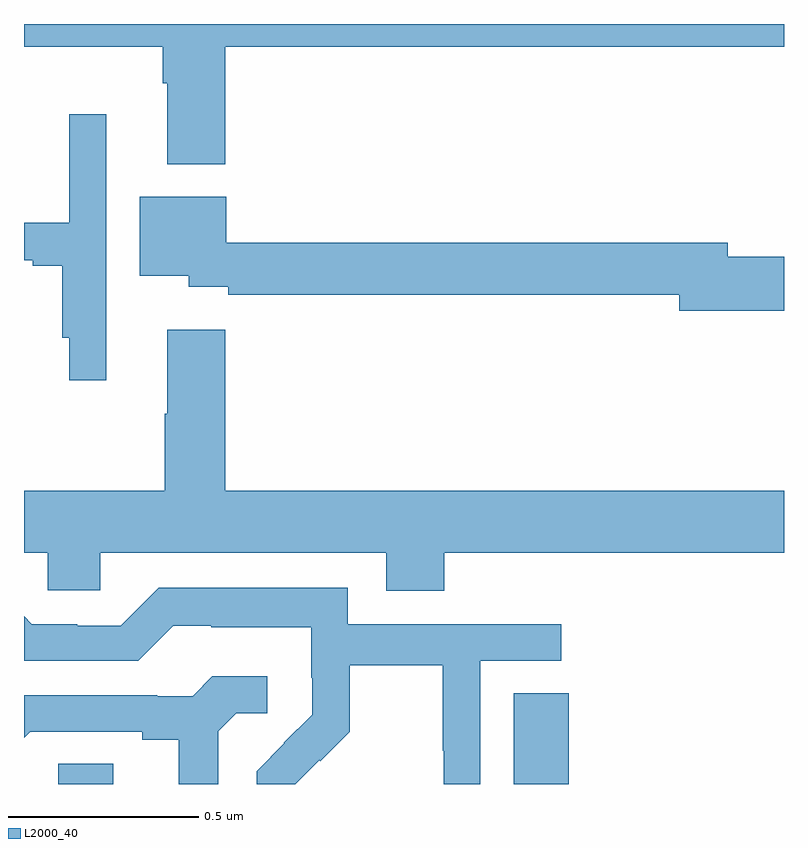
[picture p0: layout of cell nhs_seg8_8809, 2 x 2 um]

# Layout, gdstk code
import gdstk
lib = gdstk.Library(unit=1e-6, precision=1e-09)
def R(c, l, rs):  # rectangles x0, y0, x1, y1
    for r in rs: c.add(gdstk.rectangle(r[:2], r[2:], *l))
def P(c, l, *ps):  # polygons
    for p in ps: c.add(gdstk.Polygon(p, *l))
L2000_40 = (2000, 40)

nhs_seg8_8809 = lib.new_cell('nhs_seg8_8809')
R(nhs_seg8_8809, L2000_40, [(228.09,1107.9,228.235,1107.953), (229.289,1107.9,229.433,1108.139)])
P(nhs_seg8_8809, L2000_40, [(228.53,1109.84),(230,1109.84),(230,1109.9),(228,1109.9),(228,1109.84),(228.365,1109.84),(228.365,1109.744),(228.377,1109.744),(228.377,1109.531),(228.53,1109.531)],
  [(228.217,1109.183),(228.216,1109.183),(228.216,1109.662),(228.119,1109.662),(228.119,1109.377),(228,1109.377),(228,1109.278),(228.023,1109.278),(228.023,1109.264),(228.1,1109.264),(228.1,1109.074),(228.119,1109.074),(228.119,1108.962),(228.217,1108.962)],
  [(230,1109.288),(229.852,1109.288),(229.852,1109.324),(228.532,1109.324),(228.532,1109.446),(228.305,1109.446),(228.305,1109.237),(228.434,1109.237),(228.434,1109.208),(228.538,1109.208),(228.538,1109.188),(229.724,1109.188),(229.724,1109.146),(230,1109.146)],
  [(229.106,1108.508),(230,1108.508),(230,1108.672),(228.53,1108.672),(228.53,1109.095),(228.377,1109.095),(228.377,1108.874),(228.37,1108.874),(228.37,1108.672),(228,1108.672),(228,1108.508),(228.063,1108.508),(228.063,1108.41),(228.201,1108.41),(228.201,1108.508),(228.953,1108.508),(228.953,1108.409),(229.106,1108.409)],
  [(228.777,1107.963),(228.78,1107.96),(228.857,1108.037),(228.857,1108.212),(229.102,1108.212),(229.102,1107.988),(229.104,1107.988),(229.104,1107.9),(229.2,1107.9),(229.2,1108.224),(229.414,1108.224),(229.414,1108.32),(228.852,1108.32),(228.852,1108.417),(228.355,1108.417),(228.255,1108.317),(228.14,1108.317),(228.14,1108.32),(228.021,1108.32),(228,1108.341),(228,1108.224),(228.3,1108.224),(228.393,1108.317),(228.493,1108.317),(228.493,1108.313),(228.756,1108.313),(228.756,1108.179),(228.758,1108.179),(228.758,1108.082),(228.684,1108.008),(228.685,1108.007),(228.612,1107.934),(228.612,1107.9),(228.714,1107.9)],
  [(228.511,1108.039),(228.558,1108.086),(228.64,1108.086),(228.64,1108.183),(228.496,1108.183),(228.444,1108.131),(228.35,1108.131),(228.35,1108.134),(228,1108.134),(228,1108.022),(228.016,1108.038),(228.311,1108.038),(228.311,1108.016),(228.407,1108.016),(228.407,1107.9),(228.511,1107.9)])

lib.write_gds('nhs_seg8_8809.gds')
